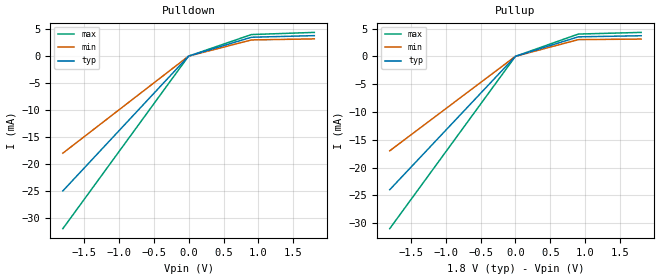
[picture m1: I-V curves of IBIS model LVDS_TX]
[IBIS Ver] 5.0
[File Name] lvds_pair.ibs
[File Rev] 1.2
[Date] November 24, 2026
[Component] LVDS_XCVR_1V8
[Manufacturer] Ansatz High-Speed IO
[Package]
R_pkg   0.0950   0.0550   0.1450
L_pkg   1.650nH   0.950nH   2.400nH
C_pkg   0.750pF   0.450pF   1.150pF
[Pin] signal_name model_name R_pin L_pin C_pin
1   VDD18   POWER
2   VSS   GND
3   TX_P   LVDS_TX
4   TX_N   LVDS_TX
5   RX_P   LVDS_RX
6   RX_N   LVDS_RX
[Model] LVDS_RX
Model_type Input
C_comp 1.0pF 0.75pF 1.35pF
[Voltage Range] 1.8V 1.71V 1.89V
Vinl = 0.85V
Vinh = 0.95V
| Models and submodels in the file (2): LVDS_TX (Output), LVDS_RX (Input)
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[Model] LVDS_TX
Model_type Output
Polarity Non-Inverting
C_comp 1.2pF 0.9pF 1.6pF
[Voltage Range] 1.8V 1.71V 1.89V
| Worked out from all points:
|   slope of the pulldown table from 0 to 0.27 V, typ, clamps not added: 257 ohm
[Pulldown]
-1.8V     -25mA      -18mA      -32mA
0V        0A         0A         0A
900mV     3.5mA      3mA        4mA
1.8V      3.8mA      3.2mA      4.4mA
[Pullup]
-1.8V     -24mA      -17mA      -31mA
0V        0A         0A         0A
900mV     3.5mA      3mA        4mA
1.8V      3.7mA      3.1mA      4.3mA
[Ramp]
dV/dt_r 0.28V/0.22ns 0.22V/0.28ns 0.34V/0.16ns
dV/dt_f 0.28V/0.22ns 0.22V/0.28ns 0.34V/0.16ns
R_load 100
